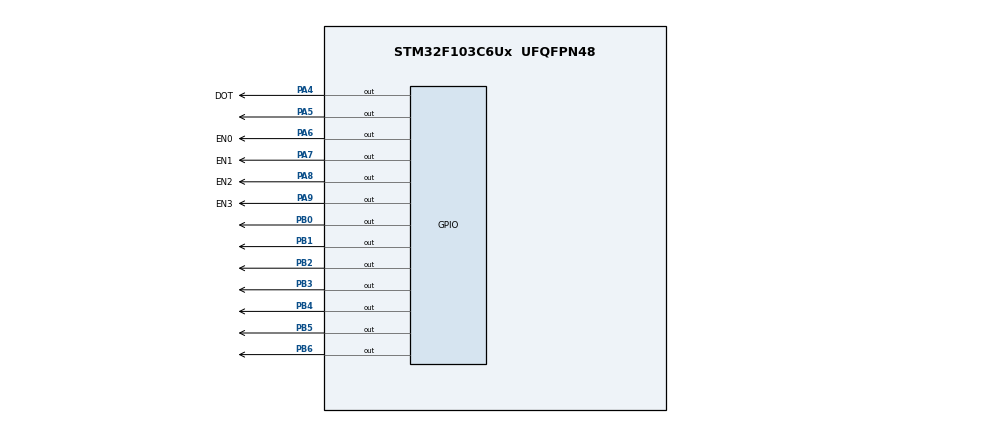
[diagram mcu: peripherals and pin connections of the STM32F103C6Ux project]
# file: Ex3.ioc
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Mcu.Family=STM32F1
Mcu.Name=STM32F103C6Ux
Mcu.Package=UFQFPN48
NVIC.PriorityGroup=NVIC_PRIORITYGROUP_4
NVIC.TIM2_IRQn=true\:0\:0\:false\:false\:true\:true\:true
PA4.GPIO_Label=DOT
PA4.Signal=GPIO_Output
PA5.Signal=GPIO_Output
PA6.GPIO_Label=EN0
PA6.Signal=GPIO_Output
PA7.GPIO_Label=EN1
PA7.Signal=GPIO_Output
PA8.GPIO_Label=EN2
PA8.Signal=GPIO_Output
PA9.GPIO_Label=EN3
PA9.Signal=GPIO_Output
PB0.Signal=GPIO_Output
PB1.Signal=GPIO_Output
PB2.Signal=GPIO_Output
PB3.Signal=GPIO_Output
PB4.Signal=GPIO_Output
PB5.Signal=GPIO_Output
PB6.Signal=GPIO_Output
ProjectManager.HeapSize=0x200
ProjectManager.StackSize=0x400
ProjectManager.TargetToolchain=STM32CubeIDE
RCC.APB1Freq_Value=8000000
RCC.APB2Freq_Value=8000000
TIM2.Period=10
TIM2.Prescaler=7999
VP_SYS_VS_ND.Mode=No_Debug
VP_TIM2_VS_ClockSourceINT.Mode=Internal
board=custom

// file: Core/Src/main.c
/* USER CODE BEGIN Header */
/**
  ******************************************************************************
  * @file           : main.c
  * @brief          : Main program body
  ******************************************************************************
  * @attention
  *
  * <h2><center>&copy; Copyright (c) 2022 STMicroelectronics.
  * All rights reserved.</center></h2>
  *
  * This software component is licensed by ST under BSD 3-Clause license,
  * the "License"; You may not use this file except in compliance with the
  * License. You may obtain a copy of the License at:
  *                        opensource.org/licenses/BSD-3-Clause
  *
  ******************************************************************************
  */
/* USER CODE END Header */
#include "main.h"

TIM_HandleTypeDef htim2;

void SystemClock_Config(void);
static void MX_TIM2_Init(void);
static void MX_GPIO_Init(void);

/* USER CODE BEGIN 0 */
void display7SEG(int num, GPIO_TypeDef* GPIOx, uint16_t start_index){
	__IO uint16_t temp;
	switch(num){
	case 0:
		temp = 0b1000000;
		break;
	case 1:
		temp = 0b1111001;
		break;
	case 2:
		temp = 0b0100100;
		break;
	case 3:
		temp = 0b0110000;
		break;
	case 4:
		temp = 0b0011001;
		break;
	case 5:
		temp = 0b0010010;
		break;
	case 6:
		temp = 0b0000010;
		break;
	case 7:
		temp = 0b1111000;
		break;
	case 8:
		temp = 0b0;
		break;
	case 9:
		temp = 0b0010000;
		break;
	default:
		temp = !0b0;
		break;
	}
	uint16_t bitmask = 0b1111111 << start_index ;
	GPIOx->ODR = (GPIOx->ODR & ~bitmask) | (temp << start_index);
}
/* USER CODE END 0 */

int main(void)
{

  /* MCU Configuration--------------------------------------------------------*/

  /* Reset of all peripherals, Initializes the Flash interface and the Systick. */
  HAL_Init();

  /* Configure the system clock */
  SystemClock_Config();

  /* Initialize all configured peripherals */
  MX_TIM2_Init();
  MX_GPIO_Init();
  /* USER CODE BEGIN 2 */
  HAL_TIM_Base_Start_IT(&htim2);

  /* USER CODE END 2 */

  /* Infinite loop */
  while (1)
  {

  }
}

void SystemClock_Config(void)
{
  RCC_OscInitTypeDef RCC_OscInitStruct = {0};
  RCC_ClkInitTypeDef RCC_ClkInitStruct = {0};

  /** Initializes the RCC Oscillators according to the specified parameters
  * in the RCC_OscInitTypeDef structure.
  */
  RCC_OscInitStruct.OscillatorType = RCC_OSCILLATORTYPE_HSI;
  RCC_OscInitStruct.HSIState = RCC_HSI_ON;
  RCC_OscInitStruct.HSICalibrationValue = RCC_HSICALIBRATION_DEFAULT;
  RCC_OscInitStruct.PLL.PLLState = RCC_PLL_NONE;
  if (HAL_RCC_OscConfig(&RCC_OscInitStruct) != HAL_OK)
  {
    Error_Handler();
  }
  /** Initializes the CPU, AHB and APB buses clocks
  */
  RCC_ClkInitStruct.ClockType = RCC_CLOCKTYPE_HCLK|RCC_CLOCKTYPE_SYSCLK
                              |RCC_CLOCKTYPE_PCLK1|RCC_CLOCKTYPE_PCLK2;
  RCC_ClkInitStruct.SYSCLKSource = RCC_SYSCLKSOURCE_HSI;
  RCC_ClkInitStruct.AHBCLKDivider = RCC_SYSCLK_DIV1;
  RCC_ClkInitStruct.APB1CLKDivider = RCC_HCLK_DIV1;
  RCC_ClkInitStruct.APB2CLKDivider = RCC_HCLK_DIV1;

  if (HAL_RCC_ClockConfig(&RCC_ClkInitStruct, FLASH_LATENCY_0) != HAL_OK)
  {
    Error_Handler();
  }
}

static void MX_TIM2_Init(void)
{

  TIM_ClockConfigTypeDef sClockSourceConfig = {0};
  TIM_MasterConfigTypeDef sMasterConfig = {0};

  htim2.Instance = TIM2;
  htim2.Init.Prescaler = 7999;
  htim2.Init.CounterMode = TIM_COUNTERMODE_UP;
  htim2.Init.Period = 10;
  htim2.Init.ClockDivision = TIM_CLOCKDIVISION_DIV1;
  htim2.Init.AutoReloadPreload = TIM_AUTORELOAD_PRELOAD_DISABLE;
  if (HAL_TIM_Base_Init(&htim2) != HAL_OK)
  {
    Error_Handler();
  }
  sClockSourceConfig.ClockSource = TIM_CLOCKSOURCE_INTERNAL;
  if (HAL_TIM_ConfigClockSource(&htim2, &sClockSourceConfig) != HAL_OK)
  {
    Error_Handler();
  }
  sMasterConfig.MasterOutputTrigger = TIM_TRGO_RESET;
  sMasterConfig.MasterSlaveMode = TIM_MASTERSLAVEMODE_DISABLE;
  if (HAL_TIMEx_MasterConfigSynchronization(&htim2, &sMasterConfig) != HAL_OK)
  {
    Error_Handler();
  }

}

static void MX_GPIO_Init(void)
{
  GPIO_InitTypeDef GPIO_InitStruct = {0};

  /* GPIO Ports Clock Enable */
  __HAL_RCC_GPIOA_CLK_ENABLE();
  __HAL_RCC_GPIOB_CLK_ENABLE();

  /*Configure GPIO pin Output Level */
  HAL_GPIO_WritePin(GPIOA, DOT_Pin|GPIO_PIN_5|EN0_Pin|EN1_Pin
                          |EN2_Pin|EN3_Pin, GPIO_PIN_RESET);

  /*Configure GPIO pin Output Level */
  HAL_GPIO_WritePin(GPIOB, GPIO_PIN_0|GPIO_PIN_1|GPIO_PIN_2|GPIO_PIN_3
                          |GPIO_PIN_4|GPIO_PIN_5|GPIO_PIN_6, GPIO_PIN_RESET);

  /*Configure GPIO pins : DOT_Pin PA5 EN0_Pin EN1_Pin
                           EN2_Pin EN3_Pin */
  GPIO_InitStruct.Pin = DOT_Pin|GPIO_PIN_5|EN0_Pin|EN1_Pin
                          |EN2_Pin|EN3_Pin;
  GPIO_InitStruct.Mode = GPIO_MODE_OUTPUT_PP;
  GPIO_InitStruct.Pull = GPIO_NOPULL;
  GPIO_InitStruct.Speed = GPIO_SPEED_FREQ_LOW;
  HAL_GPIO_Init(GPIOA, &GPIO_InitStruct);

  /*Configure GPIO pins : PB0 PB1 PB2 PB3
                           PB4 PB5 PB6 */
  GPIO_InitStruct.Pin = GPIO_PIN_0|GPIO_PIN_1|GPIO_PIN_2|GPIO_PIN_3
                          |GPIO_PIN_4|GPIO_PIN_5|GPIO_PIN_6;
  GPIO_InitStruct.Mode = GPIO_MODE_OUTPUT_PP;
  GPIO_InitStruct.Pull = GPIO_NOPULL;
  GPIO_InitStruct.Speed = GPIO_SPEED_FREQ_LOW;
  HAL_GPIO_Init(GPIOB, &GPIO_InitStruct);

}

/* USER CODE BEGIN 4 */
// Set bit en 1..4
void setEnable (uint16_t num){
//	uint16_t bitmask = 0b1111111 << start_index ;
//	GPIOx->ODR = (GPIOx->ODR & ~bitmask)
//			| (temp << start_index);
	uint16_t bitmask = 0xf << 6;
	GPIOA->ODR = (GPIOA->ODR & ~bitmask ) | (~(1 << num) << 6);

}
const int MAX_LED = 4;
int index_led = 0;
int led_buffer[4] = {1,2,4,5};
void update7SEG(int index){
	switch(index){
	case 0:
		setEnable(0);
		break;
	case 1:
		setEnable(1);
		break;
	case 2:
		setEnable(2);
		break;
	case 3:
		setEnable(3);
		break;
	default:
		break;
	}
	display7SEG(led_buffer[index], GPIOB, 0);
}
int counter1 = 100;
int counter2 = 50;
void HAL_TIM_PeriodElapsedCallback (TIM_HandleTypeDef * htim){
	/*
	 * Trigger the led
	 */

	counter1--;
	if(counter1 <= 0){
		counter1 = 100;
		HAL_GPIO_TogglePin(GPIOA, GPIO_PIN_5);
		HAL_GPIO_TogglePin(DOT_GPIO_Port, DOT_Pin);
	}
	/*
	 * Trigger 7SEG led
	 */
	counter2--;
	if(counter2 <= 0){
		counter2 = 50;
		update7SEG(index_led++);
	}
	if(index_led > 3)
		index_led = 0;
}
/* USER CODE END 4 */

void Error_Handler(void)
{
  __disable_irq();
  while (1)
  {
  }
}

/************************ (C) COPYRIGHT STMicroelectronics *****END OF FILE****/
